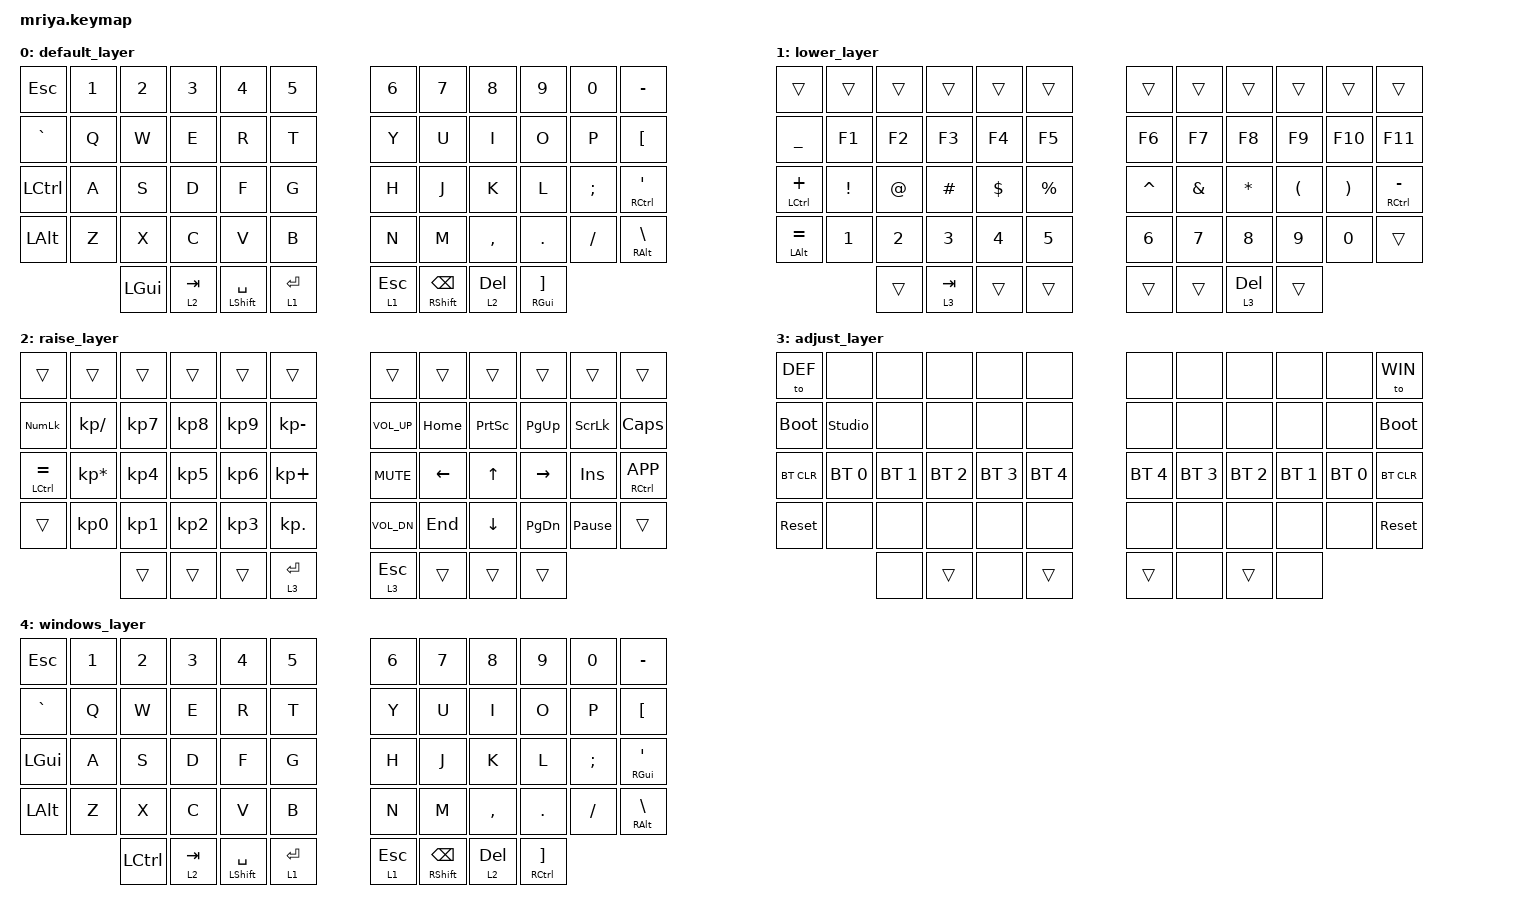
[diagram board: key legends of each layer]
/*
 * Copyright (c) 2023 Andrei Gaevskii
 *
 * SPDX-License-Identifier: MIT
 */

#include <behaviors.dtsi>
#include <dt-bindings/zmk/bt.h>
#include <dt-bindings/zmk/keys.h>

#define DEF 0
#define LWR 1
#define RSE 2
#define ADJ 3
#define WIN 4

&lt { quick_tap_ms = <200>; };

&mt { quick_tap_ms = <200>; };

/ {
    keymap {
        compatible = "zmk,keymap";

        default_layer {
            bindings = <
  &kp ESCAPE  &kp N1  &kp N2    &kp N3     &kp N4           &kp N5       &kp N6     &kp N7          &kp N8     &kp N9                  &kp N0    &kp MINUS
  &kp GRAVE   &kp Q   &kp W     &kp E      &kp R            &kp T        &kp Y      &kp U           &kp I      &kp O                   &kp P     &kp LBKT
  &kp LCTRL   &kp A   &kp S     &kp D      &kp F            &kp G        &kp H      &kp J           &kp K      &kp L                   &kp SEMI  &mt RCTRL SQT
  &kp LALT    &kp Z   &kp X     &kp C      &kp V            &kp B        &kp N      &kp M           &kp COMMA  &kp DOT                 &kp FSLH  &mt RALT BSLH
                      &kp LGUI  &lt 2 TAB  &mt LSHFT SPACE  &lt 1 RET    &lt 1 ESC  &mt RSHFT BSPC  &lt 2 DEL  &mt RGUI RIGHT_BRACKET
            >;
        };

        lower_layer {
            bindings = <
  &trans          &trans    &trans  &trans     &trans    &trans       &trans     &trans    &trans     &trans    &trans    &trans
  &kp UNDER       &kp F1    &kp F2  &kp F3     &kp F4    &kp F5       &kp F6     &kp F7    &kp F8     &kp F9    &kp F10   &kp F11
  &mt LCTRL PLUS  &kp EXCL  &kp AT  &kp HASH   &kp DLLR  &kp PRCNT    &kp CARET  &kp AMPS  &kp STAR   &kp LPAR  &kp RPAR  &mt RCTRL MINUS
  &mt LALT EQUAL  &kp N1    &kp N2  &kp N3     &kp N4    &kp N5       &kp N6     &kp N7    &kp N8     &kp N9    &kp N0    &trans
                            &trans  &lt 3 TAB  &trans    &trans       &trans     &trans    &lt 3 DEL  &trans
            >;
        };

        raise_layer {
            bindings = <
  &trans           &trans           &trans     &trans     &trans     &trans          &trans        &trans    &trans     &trans     &trans           &trans
  &kp KP_NUM       &kp KP_SLASH     &kp KP_N7  &kp KP_N8  &kp KP_N9  &kp KP_MINUS    &kp C_VOL_UP  &kp HOME  &kp PSCRN  &kp PG_UP  &kp SLCK         &kp CAPS
  &mt LCTRL EQUAL  &kp KP_MULTIPLY  &kp KP_N4  &kp KP_N5  &kp KP_N6  &kp KP_PLUS     &kp C_MUTE    &kp LEFT  &kp UP     &kp RIGHT  &kp INS          &mt RCTRL K_APP
  &trans           &kp KP_N0        &kp KP_N1  &kp KP_N2  &kp KP_N3  &kp KP_DOT      &kp C_VOL_DN  &kp END   &kp DOWN   &kp PG_DN  &kp PAUSE_BREAK  &trans
                                    &trans     &trans     &trans     &lt 3 RET       &lt 3 ESC     &trans    &trans     &trans
            >;
        };

        adjust_layer {
            bindings = <
  &to DEF      &none         &none         &none         &none         &none           &none         &none         &none         &none         &none         &to WIN
  &bootloader  &studio_unlock &none        &none         &none         &none           &none         &none         &none         &none         &none         &bootloader
  &bt BT_CLR   &bt BT_SEL 0  &bt BT_SEL 1  &bt BT_SEL 2  &bt BT_SEL 3  &bt BT_SEL 4    &bt BT_SEL 4  &bt BT_SEL 3  &bt BT_SEL 2  &bt BT_SEL 1  &bt BT_SEL 0  &bt BT_CLR
  &sys_reset   &none         &none         &none         &none         &none           &none         &none         &none         &none         &none         &sys_reset
                             &none         &trans        &none         &trans          &trans        &none         &trans        &none
            >;
        };

        windows_layer {
            bindings = <
  &kp ESCAPE  &kp N1  &kp N2     &kp N3     &kp N4           &kp N5       &kp N6     &kp N7          &kp N8     &kp N9   &kp N0    &kp MINUS
  &kp GRAVE   &kp Q   &kp W      &kp E      &kp R            &kp T        &kp Y      &kp U           &kp I      &kp O    &kp P     &kp LBKT
  &kp LGUI    &kp A   &kp S      &kp D      &kp F            &kp G        &kp H      &kp J           &kp K      &kp L    &kp SEMI  &mt RGUI SQT
  &kp LALT    &kp Z   &kp X      &kp C      &kp V            &kp B        &kp N      &kp M           &kp COMMA  &kp DOT  &kp FSLH  &mt RALT BSLH
                      &kp LCTRL  &lt 2 TAB  &mt LSHFT SPACE  &lt 1 RET    &lt 1 ESC  &mt RSHFT BSPC  &lt 2 DEL  &mt RCTRL RIGHT_BRACKET
            >;
        };
    };
};
